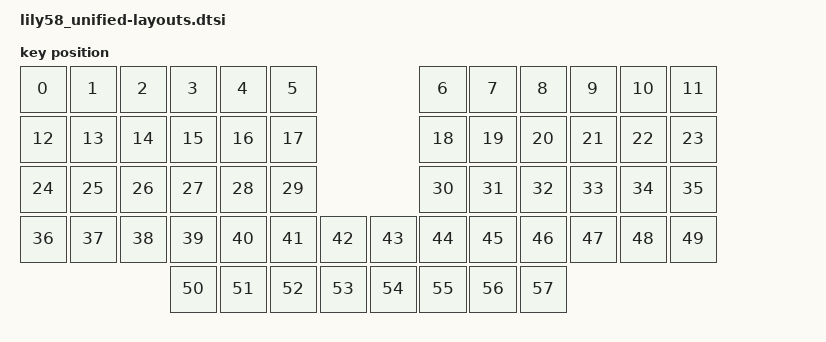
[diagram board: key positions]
/*
 * Copyright (c) 2024 The ZMK Contributors
 * SPDX-License-Identifier: MIT
 */

#include <physical_layouts.dtsi>

/ {
    physical_layout0: physical_layout_0 {
        compatible = "zmk,physical-layout";
        display-name = "Default Layout";

        keys = <
/* Row 0 left */
&key_physical_attrs 100 100    0   0 0 0 0  /* ESC  */
&key_physical_attrs 100 100  100   0 0 0 0  /* 1    */
&key_physical_attrs 100 100  200   0 0 0 0  /* 2    */
&key_physical_attrs 100 100  300   0 0 0 0  /* 3    */
&key_physical_attrs 100 100  400   0 0 0 0  /* 4    */
&key_physical_attrs 100 100  500   0 0 0 0  /* 5    */
/* Row 0 right */
&key_physical_attrs 100 100  800   0 0 0 0  /* 6    */
&key_physical_attrs 100 100  900   0 0 0 0  /* 7    */
&key_physical_attrs 100 100 1000   0 0 0 0  /* 8    */
&key_physical_attrs 100 100 1100   0 0 0 0  /* 9    */
&key_physical_attrs 100 100 1200   0 0 0 0  /* 0    */
&key_physical_attrs 100 100 1300   0 0 0 0  /* BSPC */

/* Row 1 left */
&key_physical_attrs 100 100    0 100 0 0 0  /* TAB  */
&key_physical_attrs 100 100  100 100 0 0 0  /* Q    */
&key_physical_attrs 100 100  200 100 0 0 0  /* W    */
&key_physical_attrs 100 100  300 100 0 0 0  /* E    */
&key_physical_attrs 100 100  400 100 0 0 0  /* R    */
&key_physical_attrs 100 100  500 100 0 0 0  /* T    */
/* Row 1 right */
&key_physical_attrs 100 100  800 100 0 0 0  /* Y    */
&key_physical_attrs 100 100  900 100 0 0 0  /* U    */
&key_physical_attrs 100 100 1000 100 0 0 0  /* I    */
&key_physical_attrs 100 100 1100 100 0 0 0  /* O    */
&key_physical_attrs 100 100 1200 100 0 0 0  /* P    */
&key_physical_attrs 100 100 1300 100 0 0 0  /* \    */

/* Row 2 left */
&key_physical_attrs 100 100    0 200 0 0 0  /* CTRL */
&key_physical_attrs 100 100  100 200 0 0 0  /* A    */
&key_physical_attrs 100 100  200 200 0 0 0  /* S    */
&key_physical_attrs 100 100  300 200 0 0 0  /* D    */
&key_physical_attrs 100 100  400 200 0 0 0  /* F    */
&key_physical_attrs 100 100  500 200 0 0 0  /* G    */
/* Row 2 right */
&key_physical_attrs 100 100  800 200 0 0 0  /* H    */
&key_physical_attrs 100 100  900 200 0 0 0  /* J    */
&key_physical_attrs 100 100 1000 200 0 0 0  /* K    */
&key_physical_attrs 100 100 1100 200 0 0 0  /* L    */
&key_physical_attrs 100 100 1200 200 0 0 0  /* ;    */
&key_physical_attrs 100 100 1300 200 0 0 0  /* '    */

/* Row 3 left */
&key_physical_attrs 100 100    0 300 0 0 0  /* SHFT */
&key_physical_attrs 100 100  100 300 0 0 0  /* Z    */
&key_physical_attrs 100 100  200 300 0 0 0  /* X    */
&key_physical_attrs 100 100  300 300 0 0 0  /* C    */
&key_physical_attrs 100 100  400 300 0 0 0  /* V    */
&key_physical_attrs 100 100  500 300 0 0 0  /* B    */
&key_physical_attrs 100 100  600 300 0 0 0  /* [    */
/* Row 3 right */
&key_physical_attrs 100 100  700 300 0 0 0  /* ]    */
&key_physical_attrs 100 100  800 300 0 0 0  /* N    */
&key_physical_attrs 100 100  900 300 0 0 0  /* M    */
&key_physical_attrs 100 100 1000 300 0 0 0  /* ,    */
&key_physical_attrs 100 100 1100 300 0 0 0  /* .    */
&key_physical_attrs 100 100 1200 300 0 0 0  /* /    */
&key_physical_attrs 100 100 1300 300 0 0 0  /* SHFT */

/* Row 4 thumbs left */
&key_physical_attrs 100 100  300 400 0 0 0  /* ALT  */
&key_physical_attrs 100 100  400 400 0 0 0  /* GUI  */
&key_physical_attrs 100 100  500 400 0 0 0  /* LWR  */
&key_physical_attrs 100 100  600 400 0 0 0  /* SPC  */
/* Row 4 thumbs right */
&key_physical_attrs 100 100  700 400 0 0 0  /* ENT  */
&key_physical_attrs 100 100  800 400 0 0 0  /* RSE  */
&key_physical_attrs 100 100  900 400 0 0 0  /* BSPC */
&key_physical_attrs 100 100 1000 400 0 0 0  /* GUI  */
        >;
    };
};
